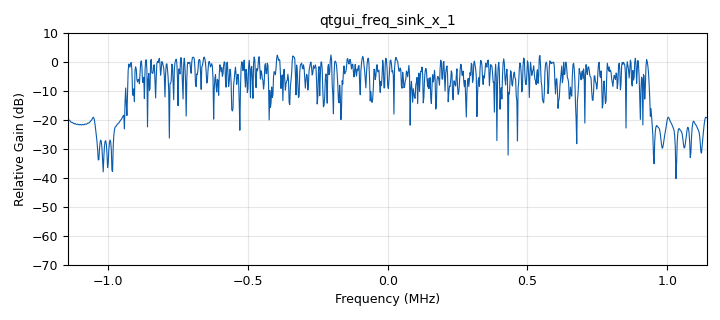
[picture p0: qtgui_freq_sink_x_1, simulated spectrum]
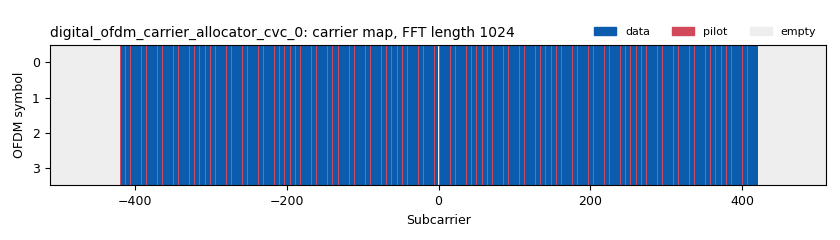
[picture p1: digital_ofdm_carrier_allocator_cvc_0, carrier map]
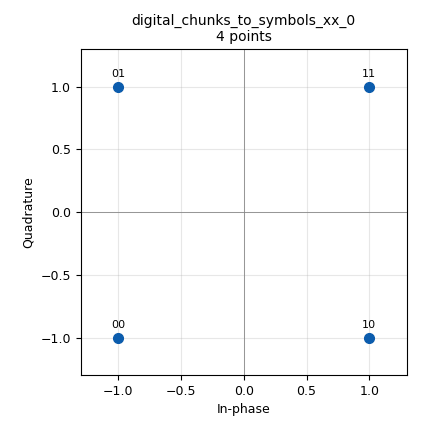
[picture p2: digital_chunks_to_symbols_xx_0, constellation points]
options:
  parameters:
    generate_options: qt_gui
    id: hackrf
    output_language: python
    title: HackRF Test
  states: {}

blocks:
- name: bw
  id: variable
  parameters:
    value: 300e3
  states: {state: disabled}
- name: center_freq
  id: variable
  parameters:
    value: 51e6
  states: {state: disabled}
- name: decimation
  id: variable
  parameters:
    value: '20'
  states: {state: disabled}
- name: fft_len
  id: variable
  parameters:
    value: '1024'
  states: {}
- name: ncarrier
  id: variable
  parameters:
    value: '720'
  states: {}
- name: occupied_carriers
  id: variable
  parameters:
    value: '[-419, -418, -417, -416, -415, -414, -412, -411, -410, -409, -408, -407, -405, -404, -403, -402, -401, -400, -398, -397, -396, -395, -394, -393, -391, -390, -389, -388, -387, -386, -384, -383, -382, -381, -380, -379, -377, -376, -375, -374, -373, -372, -370, -369, -368, -367, -366, -365, -363, -362, -361, -360, -359, -358, -356, -355, -354, -353, -352, -351, -349, -348, -347, -346, -345, -344, -342, -341, -340, -339, -338, -337, -335, -334, -333, -332, -331, -330, -328, -327, -326, -325, -324, -323, -321, -320, -319, -318, -317, -316, -314, -313, -312, -311, -310, -309, -307, -306, -305, -304, -303, -302, -300, -299, -298, -297, -296, -295, -293, -292, -291, -290, -289, -288, -286, -285, -284, -283, -282, -281, -279, -278, -277, -276, -275, -274, -272, -271, -270, -269, -268, -267, -265, -264, -263, -262, -261, -260, -258, -257, -256, -255, -254, -253, -251, -250, -249, -248, -247, -246, -244, -243, -242, -241, -240, -239, -237, -236, -235, -234, -233, -232, -230, -229, -228, -227, -226, -225, -223, -222, -221, -220, -219, -218, -216, -215, -214, -213, -212, -211, -209, -208, -207, -206, -205, -204, -202, -201, -200, -199, -198, -197, -195, -194, -193, -192, -191, -190, -188, -187, -186, -185, -184, -183, -181, -180, -179, -178, -177, -176, -174, -173, -172, -171, -170, -169, -167, -166, -165, -164, -163, -162, -160, -159, -158, -157, -156, -155, -153, -152, -151, -150, -149, -148, -146, -145, -144, -143, -142, -141, -139, -138, -137, -136, -135, -134, -133, -131, -130, -129, -128, -127, -126, -124, -123, -122, -121, -120, -119, -117, -116, -115, -114, -113, -112, -110, -109, -108, -107, -106, -105, -103, -102, -101, -100, -99, -98, -96, -95, -94, -93, -92, -91, -89, -88, -87, -86, -85, -84, -82, -81, -80, -79, -78, -77, -75, -74, -73, -72, -71, -70, -68, -67, -66, -65, -64, -63, -61, -60, -59, -58, -57, -56, -54, -53, -52, -51, -50, -49, -47, -46, -45, -44, -43, -42, -40, -39, -38, -37, -36, -35, -33, -32, -31, -30, -29, -28, -26, -25, -24, -23, -22, -21, -19, -18, -17, -16, -15, -14, -12, -11, -10, -9, -8, -7, -5, -4, -3, -2, -1, 2, 3, 4, 5, 6, 7, 9, 10, 11, 12, 13, 14, 16, 17, 18, 19, 20, 21, 23, 24, 25, 26, 27, 28, 30, 31, 32, 33, 34, 35, 37, 38, 39, 40, 41, 42, 44, 45, 46, 47, 48, 49, 51, 52, 53, 54, 55, 56, 58, 59, 60, 61, 62, 63, 65, 66, 67, 68, 69, 70, 72, 73, 74, 75, 76, 77, 79, 80, 81, 82, 83, 84, 86, 87, 88, 89, 90, 91, 93, 94, 95, 96, 97, 98, 100, 101, 102, 103, 104, 105, 107, 108, 109, 110, 111, 112, 114, 115, 116, 117, 118, 119, 121, 122, 123, 124, 125, 126, 128, 129, 130, 131, 132, 133, 135, 136, 137, 138, 139, 140, 142, 143, 144, 145, 146, 147, 149, 150, 151, 152, 153, 154, 156, 157, 158, 159, 160, 161, 163, 164, 165, 166, 167, 168, 170, 171, 172, 173, 174, 175, 177, 178, 179, 180, 181, 182, 184, 185, 186, 187, 188, 189, 191, 192, 193, 194, 195, 196, 198, 199, 200, 201, 202, 203, 205, 206, 207, 208, 209, 210, 212, 213, 214, 215, 216, 217, 219, 220, 221, 222, 223, 224, 226, 227, 228, 229, 230, 231, 233, 234, 235, 236, 237, 238, 240, 241, 242, 243, 244, 245, 247, 248, 249, 250, 251, 252, 254, 255, 256, 257, 258, 259, 261, 262, 263, 264, 265, 266, 268, 269, 270, 271, 272, 273, 275, 276, 277, 278, 279, 280, 282, 283, 284, 285, 286, 287, 289, 290, 291, 292, 293, 294, 296, 297, 298, 299, 300, 301, 303, 304, 305, 306, 307, 308, 310, 311, 312, 313, 314, 315, 317, 318, 319, 320, 321, 322, 324, 325, 326, 327, 328, 329, 331, 332, 333, 334, 335, 336, 338, 339, 340, 341, 342, 343, 345, 346, 347, 348, 349, 350, 352, 353, 354, 355, 356, 357, 359, 360, 361, 362, 363, 364, 366, 367, 368, 369, 370, 371, 373, 374, 375, 376, 377, 378, 380, 381, 382, 383, 384, 385, 387, 388, 389, 390, 391, 392, 394, 395, 396, 397, 398, 399, 401, 402, 403, 404, 405, 406, 408, 409, 410, 411, 412, 413, 415, 416, 417, 418, 419,420]'
  states: {}
- name: occupied_carriers_e
  id: variable
  parameters:
    value: '[list(range(-(int)(ncarrier/2),0)) + list(range(1,(int)(ncarrier/2+1)))]'
  states: {}
- name: pilot_carriers
  id: variable
  parameters:
    value: ((-420, -413, -406, -399, -392, -385, -378, -371, -364, -357, -350, -343, -336, -329, -322, -315, -308, -301, -294, -287, -280, -273, -266, -259, -252, -245, -238, -231, -224, -217, -210, -203, -196, -189, -182, -175, -168, -161, -154, -147, -140, -132, -125, -118, -111, -104, -97, -90, -83, -76, -69, -62, -55, -48, -41, -34, -27, -20, -13, -6, 1, 8, 15, 22, 29, 36, 43, 50, 57, 64, 71, 78, 85, 92, 99, 106, 113, 120, 127, 134, 141, 148, 155, 162, 169, 176, 183, 190, 197, 204, 211, 218, 225, 232, 239, 246, 253, 260, 267, 274, 281, 288, 295, 302, 309, 316, 323, 330, 337, 344, 351, 358, 365, 372, 379, 386, 393, 400, 407, 414),)
  states: {}
- name: pilot_carriers_e
  id: variable
  parameters:
    value: ((-(ncarrier+1),(ncarrier+1)),)
  states: {}
- name: pilot_symbols
  id: variable
  parameters:
    value: ((1, -1, 1, -1, 1, -1, 1, -1, 1, -1, 1, -1, 1, -1, 1, -1, 1, -1, 1, -1, 1, -1, 1, -1, 1, -1, 1, -1, 1, -1, 1, -1, 1, -1, 1, -1, 1, -1, 1, -1, 1, -1, 1, -1, 1, -1, 1, -1, 1, -1, 1, -1, 1, -1, 1, -1, 1, -1, 1, -1, 1, -1, 1, -1, 1, -1, 1, -1, 1, -1, 1, -1, 1, -1, 1, -1, 1, -1, 1, -1, 1, -1, 1, -1, 1, -1, 1, -1, 1, -1, 1, -1, 1, -1, 1, -1, 1, -1, 1, -1, 1, -1, 1, -1, 1, -1, 1, -1, 1, -1, 1, -1, 1, -1, 1, -1, 1, -1, 1, -1),)
  states: {}
- name: pilot_symbols_e
  id: variable
  parameters:
    value: ((1,-1),)
  states: {}
- name: samp_rate
  id: variable
  parameters:
    value: 2.285e6
  states: {}
- name: sdr_center_freq
  id: variable
  parameters:
    value: 50e6
  states: {state: disabled}
- name: sync_word
  id: variable
  parameters:
    value: '[0.0, 0.0, 0.0, 1.41421356, 0.0, 0.0, 0.0, 1.41421356, 0.0, 0.0, 0.0, 1.41421356, 0.0, 0.0, 0.0, 1.41421356, 0.0, 0.0, 0.0, 1.41421356, 0.0, 0.0, 0.0, 1.41421356, 0.0, 0.0, 0.0, 1.41421356, 0.0, 0.0, 0.0, 1.41421356, 0.0, 0.0, 0.0, 1.41421356, 0.0, 0.0, 0.0, 1.41421356, 0.0, 0.0, 0.0, -1.41421356, 0.0, 0.0, 0.0, -1.41421356, 0.0, 0.0, 0.0, 1.41421356, 0.0, 0.0, 0.0, -1.41421356, 0.0, 0.0, 0.0, 1.41421356, 0.0, 0.0, 0.0, -1.41421356, 0.0, 0.0, 0.0, 1.41421356, 0.0, 0.0, 0.0, -1.41421356, 0.0, 0.0, 0.0, 1.41421356, 0.0, 0.0, 0.0, 1.41421356, 0.0, 0.0, 0.0, 1.41421356, 0.0, 0.0, 0.0, 1.41421356, 0.0, 0.0, 0.0, 1.41421356, 0.0, 0.0, 0.0, 1.41421356, 0.0, 0.0, 0.0, -1.41421356, 0.0, 0.0, 0.0, -1.41421356, 0.0, 0.0, 0.0, 1.41421356, 0.0, 0.0, 0.0, 1.41421356, 0.0, 0.0, 0.0, 1.41421356, 0.0, 0.0, 0.0, 1.41421356, 0.0, 0.0, 0.0, -1.41421356, 0.0, 0.0, 0.0, 1.41421356, 0.0, 0.0, 0.0, -1.41421356, 0.0, 0.0, 0.0, -1.41421356, 0.0, 0.0, 0.0, -1.41421356, 0.0, 0.0, 0.0, -1.41421356, 0.0, 0.0, 0.0, 1.41421356, 0.0, 0.0, 0.0, 1.41421356, 0.0, 0.0, 0.0, -1.41421356, 0.0, 0.0, 0.0, -1.41421356, 0.0, 0.0, 0.0, 1.41421356, 0.0, 0.0, 0.0, -1.41421356, 0.0, 0.0, 0.0, 1.41421356, 0.0, 0.0, 0.0, -1.41421356, 0.0, 0.0, 0.0, -1.41421356, 0.0, 0.0, 0.0, 1.41421356, 0.0, 0.0, 0.0, -1.41421356, 0.0, 0.0, 0.0, 1.41421356, 0.0, 0.0, 0.0, 1.41421356, 0.0, 0.0, 0.0, 1.41421356, 0.0, 0.0, 0.0, 1.41421356, 0.0, 0.0, 0.0, 1.41421356, 0.0, 0.0, 0.0, -1.41421356, 0.0, 0.0, 0.0, 1.41421356, 0.0, 0.0, 0.0, 1.41421356, 0.0, 0.0, 0.0, 1.41421356, 0.0, 0.0, 0.0, 1.41421356, 0.0, 0.0, 0.0, 1.41421356, 0.0, 0.0, 0.0, 1.41421356, 0.0, 0.0, 0.0, -1.41421356, 0.0, 0.0, 0.0, 1.41421356, 0.0, 0.0, 0.0, 1.41421356, 0.0, 0.0, 0.0, -1.41421356, 0.0, 0.0, 0.0, -1.41421356, 0.0, 0.0, 0.0, -1.41421356, 0.0, 0.0, 0.0, 1.41421356, 0.0, 0.0, 0.0, -1.41421356, 0.0, 0.0, 0.0, 1.41421356, 0.0, 0.0, 0.0, 1.41421356, 0.0, 0.0, 0.0, -1.41421356, 0.0, 0.0, 0.0, -1.41421356, 0.0, 0.0, 0.0, 1.41421356, 0.0, 0.0, 0.0, 1.41421356, 0.0, 0.0, 0.0, -1.41421356, 0.0, 0.0, 0.0, 1.41421356, 0.0, 0.0, 0.0, 1.41421356, 0.0, 0.0, 0.0, 1.41421356, 0.0, 0.0, 0.0, 1.41421356, 0.0, 0.0, 0.0, -1.41421356, 0.0, 0.0, 0.0, -1.41421356, 0.0, 0.0, 0.0, -1.41421356, 0.0, 0.0, 0.0, 1.41421356, 0.0, 0.0, 0.0, -1.41421356, 0.0, 0.0, 0.0, 1.41421356, 0.0, 0.0, 0.0, 1.41421356, 0.0, 0.0, 0.0, 1.41421356, 0.0, 0.0, 0.0, -1.41421356, 0.0, 0.0, 0.0, -1.41421356, 0.0, 0.0, 0.0, -1.41421356, 0.0, 0.0, 0.0, 1.41421356, 0.0, 0.0, 0.0, -1.41421356, 0.0, 0.0, 0.0, -1.41421356, 0.0, 0.0, 0.0, -1.41421356, 0.0, 0.0, 0.0, -1.41421356, 0.0, 0.0, 0.0, -1.41421356, 0.0, 0.0, 0.0, -1.41421356, 0.0, 0.0, 0.0, -1.41421356, 0.0, 0.0, 0.0, 1.41421356, 0.0, 0.0, 0.0, -1.41421356, 0.0, 0.0, 0.0, -1.41421356, 0.0, 0.0, 0.0, 1.41421356, 0.0, 0.0, 0.0, -1.41421356, 0.0, 0.0, 0.0, -1.41421356, 0.0, 0.0, 0.0, -1.41421356, 0.0, 0.0, 0.0, -1.41421356, 0.0, 0.0, 0.0, -1.41421356, 0.0, 0.0, 0.0, 1.41421356, 0.0, 0.0, 0.0, 1.41421356, 0.0, 0.0, 0.0, -1.41421356, 0.0, 0.0, 0.0, -1.41421356, 0.0, 0.0, 0.0, -1.41421356, 0.0, 0.0, 0.0, 1.41421356, 0.0, 0.0, 0.0, -1.41421356, 0.0, 0.0, 0.0, -1.41421356, 0.0, 0.0, 0.0, -1.41421356, 0.0, 0.0, 0.0, 1.41421356, 0.0, 0.0, 0.0, -1.41421356, 0.0, 0.0, 0.0, 1.41421356, 0.0, 0.0, 0.0, 1.41421356, 0.0, 0.0, 0.0, -1.41421356, 0.0, 0.0, 0.0, 1.41421356, 0.0, 0.0, 0.0, 1.41421356, 0.0, 0.0, 0.0, -1.41421356, 0.0, 0.0, 0.0, 1.41421356, 0.0, 0.0, 0.0, -1.41421356, 0.0, 0.0, 0.0, -1.41421356, 0.0, 0.0, 0.0, -1.41421356, 0.0, 0.0, 0.0, -1.41421356, 0.0, 0.0, 0.0, 1.41421356, 0.0, 0.0, 0.0, -1.41421356, 0.0, 0.0, 0.0, -1.41421356, 0.0, 0.0, 0.0, 1.41421356, 0.0, 0.0, 0.0, -1.41421356, 0.0, 0.0, 0.0, 1.41421356, 0.0, 0.0, 0.0, -1.41421356, 0.0, 0.0, 0.0, 1.41421356, 0.0, 0.0, 0.0, 1.41421356, 0.0, 0.0, 0.0, -1.41421356, 0.0, 0.0, 0.0, -1.41421356, 0.0, 0.0, 0.0, 1.41421356, 0.0, 0.0, 0.0, 1.41421356, 0.0, 0.0, 0.0, 1.41421356, 0.0, 0.0, 0.0, 1.41421356, 0.0, 0.0, 0.0, -1.41421356, 0.0, 0.0, 0.0, -1.41421356, 0.0, 0.0, 0.0, -1.41421356, 0.0, 0.0, 0.0, 1.41421356, 0.0, 0.0, 0.0, 1.41421356, 0.0, 0.0, 0.0, 1.41421356, 0.0, 0.0, 0.0, -1.41421356, 0.0, 0.0, 0.0, -1.41421356, 0.0, 0.0, 0.0, 1.41421356, 0.0, 0.0, 0.0, 1.41421356, 0.0, 0.0, 0.0, 1.41421356, 0.0, 0.0, 0.0, -1.41421356, 0.0, 0.0, 0.0, 1.41421356, 0.0, 0.0, 0.0, -1.41421356, 0.0, 0.0, 0.0, -1.41421356, 0.0, 0.0, 0.0, -1.41421356, 0.0, 0.0, 0.0, -1.41421356, 0.0, 0.0, 0.0, -1.41421356, 0.0, 0.0, 0.0, 1.41421356, 0.0, 0.0, 0.0, 1.41421356, 0.0, 0.0, 0.0, 1.41421356, 0.0, 0.0, 0.0, -1.41421356, 0.0, 0.0, 0.0, 1.41421356, 0.0, 0.0, 0.0, -1.41421356, 0.0, 0.0, 0.0, 1.41421356, 0.0, 0.0, 0.0, 1.41421356, 0.0, 0.0, 0.0, 1.41421356, 0.0, 0.0, 0.0, -1.41421356, 0.0, 0.0, 0.0, 1.41421356, 0.0, 0.0, 0.0, 1.41421356, 0.0, 0.0, 0.0, 1.41421356, 0.0, 0.0, 0.0, -1.41421356, 0.0, 0.0, 0.0, 1.41421356, 0.0, 0.0, 0.0, 1.41421356, 0.0, 0.0, 0.0, 1.41421356, 0.0, 0.0, 0.0, 1.41421356, 0.0, 0.0, 0.0, 1.41421356, 0.0, 0.0, 0.0, -1.41421356, 0.0, 0.0, 0.0, -1.41421356, 0.0, 0.0, 0.0, -1.41421356, 0.0, 0.0, 0.0, -1.41421356, 0.0, 0.0, 0.0, 1.41421356, 0.0, 0.0, 0.0, 1.41421356, 0.0, 0.0, 0.0, 1.41421356, 0.0, 0.0, 0.0, -1.41421356, 0.0, 0.0, 0.0, 1.41421356, 0.0, 0.0, 0.0, 1.41421356, 0.0, 0.0, 0.0, 1.41421356, 0.0, 0.0, 0.0, -1.41421356, 0.0, 0.0, 0.0, -1.41421356, 0.0, 0.0, 0.0, 1.41421356, 0.0, 0.0, 0.0, -1.41421356, 0.0, 0.0, 0.0, -1.41421356, 0.0, 0.0, 0.0, -1.41421356, 0.0, 0.0, 0.0, 1.41421356, 0.0, 0.0, 0.0, 1.41421356, 0.0, 0.0, 0.0, 1.41421356, 0.0, 0.0, 0.0, 1.41421356, 0.0, 0.0, 0.0, 1.41421356, 0.0, 0.0, 0.0, 1.41421356, 0.0, 0.0, 0.0, 1.41421356, 0.0, 0.0, 0.0, -1.41421356, 0.0, 0.0, 0.0, 1.41421356, 0.0, 0.0, 0.0, -1.41421356, 0.0, 0.0, 0.0, 1.41421356, 0.0, 0.0, 0.0, 1.41421356, 0.0, 0.0, 0.0, -1.41421356, 0.0, 0.0, 0.0, 1.41421356, 0.0, 0.0, 0.0, -1.41421356, 0.0, 0.0, 0.0, 1.41421356, 0.0, 0.0, 0.0, 1.41421356, 0.0, 0.0, 0.0, -1.41421356, 0.0, 0.0, 0.0, 1.41421356, 0.0, 0.0, 0.0, 1.41421356, 0.0, 0.0, 0.0, 1.41421356, 0.0, 0.0, 0.0, -1.41421356, 0.0, 0.0, 0.0, 1.41421356, 0.0, 0.0, 0.0, -1.41421356, 0.0, 0.0, 0.0, -1.41421356, 0.0, 0.0, 0.0, -1.41421356, 0.0, 0.0, 0.0, 1.41421356, 0.0, 0.0, 0.0, -1.41421356, 0.0, 0.0, 0.0, -1.41421356, 0.0, 0.0, 0.0, -1.41421356, 0.0, 0.0, 0.0, -1.41421356, 0.0, 0.0, 0.0, 1.41421356, 0.0, 0.0, 0.0, -1.41421356, 0.0, 0.0, 0.0, 1.41421356, 0.0, 0.0, 0.0, -1.41421356, 0.0, 0.0, 0.0, 1.41421356, 0.0, 0.0, 0.0, 1.41421356, 0.0, 0.0, 0.0, -1.41421356, 0.0, 0.0, 0.0, 1.41421356, 0.0, 0.0, 0.0, 1.41421356, 0.0, 0.0, 0.0, -1.41421356, 0.0, 0.0, 0.0, -1.41421356, 0.0, 0.0, 0.0, -1.41421356, 0.0, 0.0, 0.0, 1.41421356, 0.0, 0.0, 0.0, 1.41421356, 0.0, 0.0, 0.0, 1.41421356, 0.0, 0.0, 0.0, -1.41421356, 0.0, 0.0, 0.0, 1.41421356, 0.0, 0.0, 0.0, 1.41421356, 0.0, 0.0, 0.0, -1.41421356, 0.0, 0.0, 0.0, -1.41421356, 0.0, 0.0, 0.0, 1.41421356, 0.0, 0.0, 0.0, -1.41421356, 0.0, 0.0, 0.0, 1.41421356, 0.0, 0.0, 0.0, 1.41421356, 0.0, 0.0, 0.0, 1.41421356, 0.0, 0.0, 0.0, -1.41421356, 0.0, 0.0, 0.0, -1.41421356, 0.0, 0.0, 0.0, 1.41421356]'
  states: {}
- name: blocks_message_debug_0
  id: blocks_message_debug
  parameters: {}
  states: {state: disabled}
- name: blocks_probe_rate_0
  id: blocks_probe_rate
  parameters:
    alpha: '0.15'
    mintime: '500.0'
    type: complex
  states: {state: disabled}
- name: blocks_repack_bits_bb_0
  id: blocks_repack_bits_bb
  parameters:
    endianness: gr.GR_LSB_FIRST
    k: '1'
    l: '2'
  states: {}
- name: blocks_stream_to_tagged_stream_0
  id: blocks_stream_to_tagged_stream
  parameters:
    len_tag_key: '"packet_len"'
    packet_len: ncarrier
    type: complex
  states: {}
- name: blocks_tag_gate_0
  id: blocks_tag_gate
  parameters:
    propagate_tags: 'False'
    type: complex
  states: {}
- name: blocks_throttle_0
  id: blocks_throttle
  parameters:
    samples_per_second: samp_rate
    type: complex
  states: {state: disabled}
- name: digital_chunks_to_symbols_xx_0
  id: digital_chunks_to_symbols_xx
  parameters:
    dimension: '1'
    in_type: byte
    out_type: complex
    symbol_table: '[-1-1j, -1+1j, 1-1j, 1+1j]'
  states: {}
- name: digital_glfsr_source_x_0
  id: digital_glfsr_source_x
  parameters:
    degree: '16'
    mask: '0'
    repeat: 'True'
    seed: '1'
    type: byte
  states: {}
- name: digital_ofdm_carrier_allocator_cvc_0
  id: digital_ofdm_carrier_allocator_cvc
  parameters:
    fft_len: fft_len
    len_tag_key: '"packet_len"'
    occupied_carriers: '[occupied_carriers,occupied_carriers]'
    output_is_shifted: 'True'
    pilot_carriers: pilot_carriers
    pilot_symbols: pilot_symbols
    sync_words: '[sync_word]'
  states: {}
- name: digital_ofdm_cyclic_prefixer_0
  id: digital_ofdm_cyclic_prefixer
  parameters:
    cp_len: (int)(fft_len/4)
    input_size: fft_len
    tagname: '"packet_len"'
  states: {}
- name: fft_vxx_0
  id: fft_vxx
  parameters:
    fft_size: fft_len
    forward: 'False'
    shift: 'True'
    type: complex
    window: ()
  states: {}
- name: osmosdr_sink_0
  id: osmosdr_sink
  parameters:
    bb_gain0: '20'
    freq0: 52e6
    gain0: '10'
    if_gain0: '20'
    sample_rate: samp_rate
    sync: sync
    type: fc32
  states: {}
- name: qtgui_freq_sink_x_1
  id: qtgui_freq_sink_x
  parameters:
    bw: samp_rate
    fc: '0'
    fftsize: '1024'
    type: complex
    wintype: firdes.WIN_BLACKMAN_hARRIS
    ymin: '-70'
  states: {}

connections:
- [blocks_probe_rate_0, rate, blocks_message_debug_0, print]
- [blocks_repack_bits_bb_0, '0', digital_chunks_to_symbols_xx_0, '0']
- [blocks_stream_to_tagged_stream_0, '0', digital_ofdm_carrier_allocator_cvc_0, '0']
- [blocks_tag_gate_0, '0', osmosdr_sink_0, '0']
- [blocks_tag_gate_0, '0', qtgui_freq_sink_x_1, '0']
- [blocks_throttle_0, '0', blocks_tag_gate_0, '0']
- [digital_chunks_to_symbols_xx_0, '0', blocks_stream_to_tagged_stream_0, '0']
- [digital_glfsr_source_x_0, '0', blocks_repack_bits_bb_0, '0']
- [digital_ofdm_carrier_allocator_cvc_0, '0', fft_vxx_0, '0']
- [digital_ofdm_cyclic_prefixer_0, '0', blocks_tag_gate_0, '0']
- [digital_ofdm_cyclic_prefixer_0, '0', blocks_throttle_0, '0']
- [fft_vxx_0, '0', digital_ofdm_cyclic_prefixer_0, '0']

metadata:
  file_format: 1
